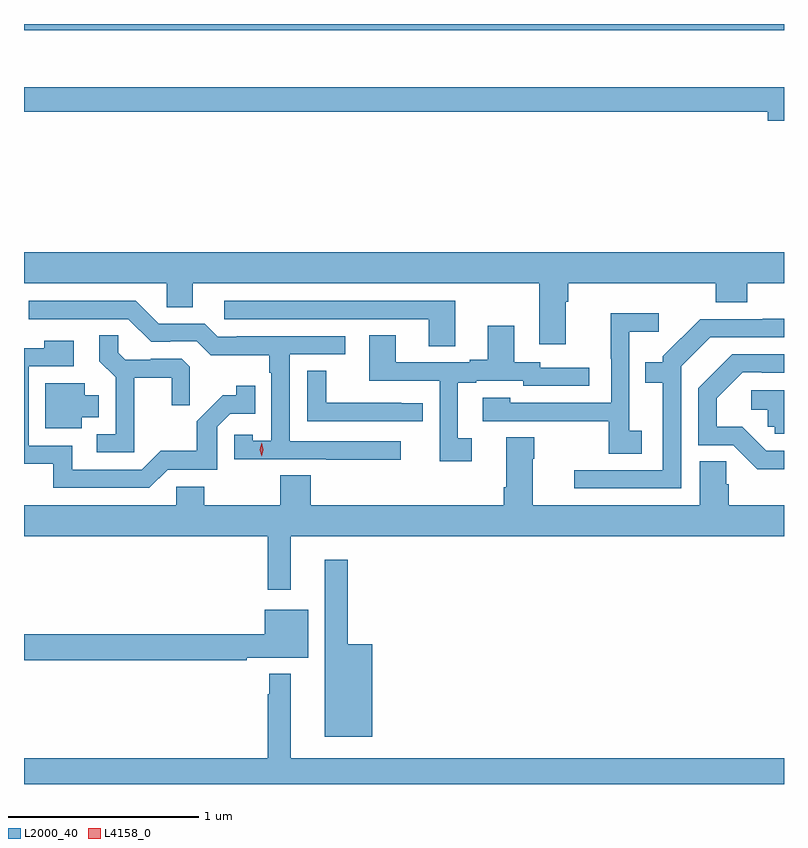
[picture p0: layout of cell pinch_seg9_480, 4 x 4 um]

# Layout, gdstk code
import gdstk
lib = gdstk.Library(unit=1e-6, precision=1e-09)
def R(c, l, rs):  # rectangles x0, y0, x1, y1
    for r in rs: c.add(gdstk.rectangle(r[:2], r[2:], *l))
def P(c, l, *ps):  # polygons
    for p in ps: c.add(gdstk.Polygon(p, *l))
L2000_40 = (2000, 40)
L4158_0 = (4158, 0)

pinch_seg9_480 = lib.new_cell('pinch_seg9_480')
R(pinch_seg9_480, L2000_40, [(347.244,1208.408,351.244,1208.441)])
P(pinch_seg9_480, L2000_40, [(351.244,1208.107),(347.244,1208.107),(347.244,1207.978),(351.158,1207.978),(351.158,1207.931),(351.244,1207.931)],
  [(350.095,1206.98),(350.108,1206.98),(350.108,1207.076),(350.885,1207.076),(350.885,1206.977),(351.05,1206.977),(351.05,1207.076),(351.244,1207.076),(351.244,1207.24),(347.244,1207.24),(347.244,1207.076),(347.994,1207.076),(347.994,1206.949),(348.133,1206.949),(348.133,1207.076),(349.955,1207.076),(349.955,1206.756),(350.095,1206.756)],
  [(349.513,1206.984),(348.297,1206.984),(348.297,1206.888),(349.373,1206.888),(349.373,1206.745),(349.513,1206.745)],
  [(349.228,1206.246),(348.642,1206.246),(348.642,1206.702),(348.934,1206.702),(348.934,1206.798),(348.364,1206.798),(348.364,1206.795),(348.264,1206.795),(348.195,1206.864),(347.952,1206.864),(347.832,1206.984),(347.27,1206.984),(347.27,1206.888),(347.793,1206.888),(347.913,1206.768),(348.014,1206.768),(348.014,1206.771),(348.153,1206.771),(348.226,1206.698),(348.534,1206.698),(348.534,1206.605),(348.546,1206.605),(348.546,1206.247),(348.447,1206.247),(348.447,1206.279),(348.351,1206.279),(348.351,1206.15),(348.835,1206.15),(348.835,1206.148),(349.228,1206.148)],
  [(350.494,1206.3),(350.43,1206.3),(350.43,1206.821),(350.584,1206.821),(350.584,1206.919),(350.332,1206.919),(350.332,1206.68),(350.334,1206.68),(350.334,1206.447),(349.803,1206.447),(349.803,1206.475),(349.659,1206.475),(349.659,1206.351),(350.017,1206.351),(350.017,1206.349),(350.322,1206.349),(350.322,1206.178),(350.494,1206.178)],
  [(350.703,1206.639),(350.856,1206.792),(351.244,1206.792),(351.244,1206.89),(351.133,1206.89),(351.133,1206.888),(350.802,1206.888),(350.607,1206.693),(350.607,1206.661),(350.515,1206.661),(350.515,1206.552),(350.606,1206.552),(350.606,1206.093),(350.139,1206.093),(350.139,1205.997),(350.703,1205.997)],
  [(349.6,1206.261),(349.528,1206.261),(349.528,1206.552),(349.624,1206.552),(349.624,1206.564),(349.872,1206.564),(349.872,1206.537),(350.218,1206.537),(350.218,1206.633),(349.962,1206.633),(349.962,1206.66),(349.825,1206.66),(349.825,1206.853),(349.685,1206.853),(349.685,1206.673),(349.589,1206.673),(349.589,1206.66),(349.201,1206.66),(349.201,1206.803),(349.061,1206.803),(349.061,1206.564),(349.431,1206.564),(349.431,1206.141),(349.6,1206.141)],
  [(347.825,1206.578),(348.022,1206.578),(348.022,1206.435),(348.116,1206.435),(348.116,1206.637),(348.075,1206.678),(347.91,1206.678),(347.91,1206.675),(347.776,1206.675),(347.739,1206.712),(347.739,1206.803),(347.641,1206.803),(347.641,1206.667),(347.727,1206.581),(347.727,1206.282),(347.628,1206.282),(347.628,1206.186),(347.825,1206.186)],
  [(348,1206.096),(348.261,1206.096),(348.261,1206.321),(348.33,1206.39),(348.461,1206.39),(348.461,1206.538),(348.36,1206.538),(348.36,1206.488),(348.29,1206.488),(348.153,1206.35),(348.153,1206.195),(347.964,1206.195),(347.865,1206.096),(347.497,1206.096),(347.497,1206.222),(347.268,1206.222),(347.268,1206.639),(347.506,1206.639),(347.506,1206.775),(347.35,1206.775),(347.35,1206.735),(347.244,1206.735),(347.244,1206.126),(347.399,1206.126),(347.399,1206),(347.904,1206)],
  [(351.244,1206.195),(351.15,1206.195),(351.023,1206.322),(350.89,1206.322),(350.89,1206.472),(351.027,1206.609),(351.127,1206.609),(351.127,1206.606),(351.244,1206.606),(351.244,1206.702),(350.972,1206.702),(350.793,1206.523),(350.793,1206.225),(350.976,1206.225),(351.104,1206.098),(351.244,1206.098)],
  [(349.342,1206.446),(349.229,1206.446),(349.229,1206.447),(348.834,1206.447),(348.834,1206.617),(348.735,1206.617),(348.735,1206.351),(349.342,1206.351)],
  [(347.548,1206.371),(347.638,1206.371),(347.638,1206.487),(347.563,1206.487),(347.563,1206.55),(347.357,1206.55),(347.357,1206.314),(347.548,1206.314)],
  [(351.244,1206.513),(351.072,1206.513),(351.072,1206.41),(351.159,1206.41),(351.159,1206.321),(351.195,1206.321),(351.195,1206.285),(351.244,1206.285)],
  [(348.528,1205.463),(348.649,1205.463),(348.649,1205.744),(351.244,1205.744),(351.244,1205.908),(350.954,1205.908),(350.954,1206.018),(350.939,1206.018),(350.939,1206.14),(350.801,1206.14),(350.801,1205.908),(349.921,1205.908),(349.921,1206.152),(349.929,1206.152),(349.929,1206.265),(349.781,1206.265),(349.781,1206.004),(349.769,1206.004),(349.769,1205.908),(348.752,1205.908),(348.752,1206.065),(348.592,1206.065),(348.592,1205.908),(348.192,1205.908),(348.192,1206.006),(348.045,1206.006),(348.045,1205.908),(347.244,1205.908),(347.244,1205.744),(348.528,1205.744)],
  [(349.078,1205.176),(348.949,1205.176),(348.949,1205.62),(348.827,1205.62),(348.827,1204.691),(349.078,1204.691)],
  [(348.416,1205.105),(348.739,1205.105),(348.739,1205.359),(348.512,1205.359),(348.512,1205.228),(347.244,1205.228),(347.244,1205.092),(348.416,1205.092)],
  [(351.244,1204.576),(348.649,1204.576),(348.649,1205.02),(348.534,1205.02),(348.534,1204.913),(348.528,1204.913),(348.528,1204.576),(347.244,1204.576),(347.244,1204.441),(351.244,1204.441)])
P(pinch_seg9_480, L4158_0, [(348.494,1206.165),(348.494,1206.166),(348.484,1206.201),(348.494,1206.237),(348.494,1206.237),(348.494,1206.237),(348.504,1206.201),(348.494,1206.166)])

lib.write_gds('pinch_seg9_480.gds')
